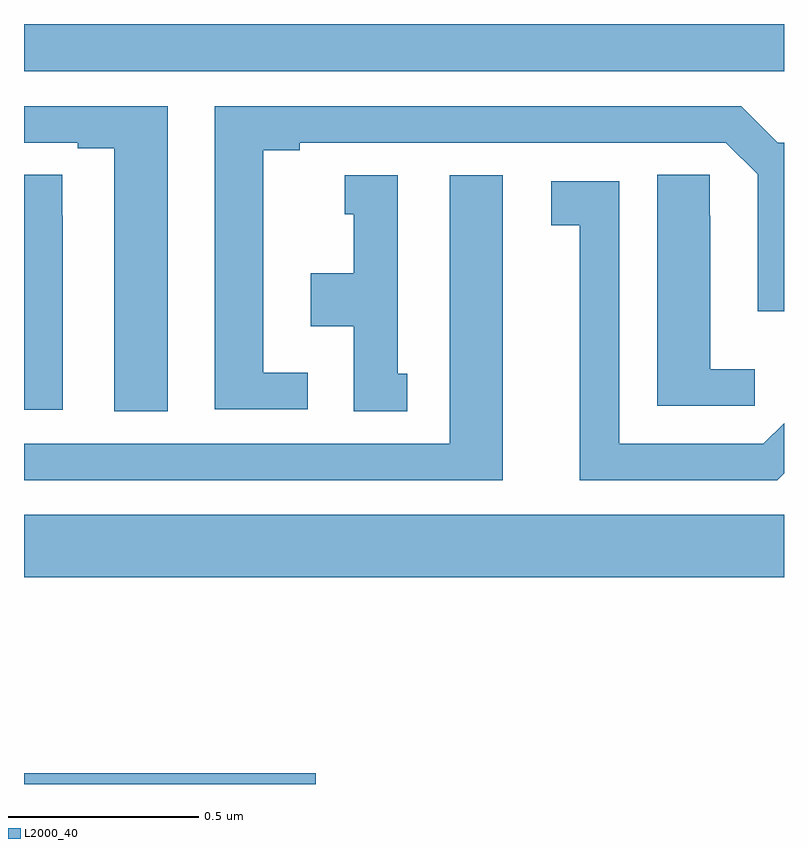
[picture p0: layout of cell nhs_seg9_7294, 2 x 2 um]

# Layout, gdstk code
import gdstk
lib = gdstk.Library(unit=1e-6, precision=1e-09)
def R(c, l, rs):  # rectangles x0, y0, x1, y1
    for r in rs: c.add(gdstk.rectangle(r[:2], r[2:], *l))
def P(c, l, *ps):  # polygons
    for p in ps: c.add(gdstk.Polygon(p, *l))
L2000_40 = (2000, 40)

nhs_seg9_7294 = lib.new_cell('nhs_seg9_7294')
R(nhs_seg9_7294, L2000_40, [(202,1238.5,202.768,1238.528), (202,1239.044,204,1239.208), (202,1240.376,204,1240.5)])
P(nhs_seg9_7294, L2000_40, [(202.747,1239.582),(202.63,1239.582),(202.63,1240.168),(202.726,1240.168),(202.726,1240.188),(203.847,1240.188),(203.931,1240.104),(203.931,1239.744),(204,1239.744),(204,1240.188),(203.983,1240.188),(203.887,1240.284),(202.502,1240.284),(202.502,1239.486),(202.747,1239.486)],
  [(202.378,1240.284),(202,1240.284),(202,1240.188),(202.142,1240.188),(202.142,1240.173),(202.238,1240.173),(202.238,1239.481),(202.378,1239.481)],
  [(203.923,1239.592),(203.806,1239.592),(203.806,1239.995),(203.805,1239.995),(203.805,1240.103),(203.666,1240.103),(203.666,1239.495),(203.923,1239.495)],
  [(202.102,1239.995),(202.101,1239.995),(202.101,1240.103),(202,1240.103),(202,1239.485),(202.102,1239.485)],
  [(203.26,1240.102),(203.12,1240.102),(203.12,1239.396),(202,1239.396),(202,1239.3),(203.26,1239.3)],
  [(203.008,1239.579),(202.984,1239.579),(202.984,1240.102),(202.844,1240.102),(202.844,1239.999),(202.868,1239.999),(202.868,1239.844),(202.754,1239.844),(202.754,1239.704),(202.868,1239.704),(202.868,1239.481),(203.008,1239.481)],
  [(204,1239.318),(204,1239.45),(203.946,1239.396),(203.566,1239.396),(203.566,1240.086),(203.388,1240.086),(203.388,1239.97),(203.462,1239.97),(203.462,1239.3),(203.982,1239.3)])

lib.write_gds('nhs_seg9_7294.gds')
